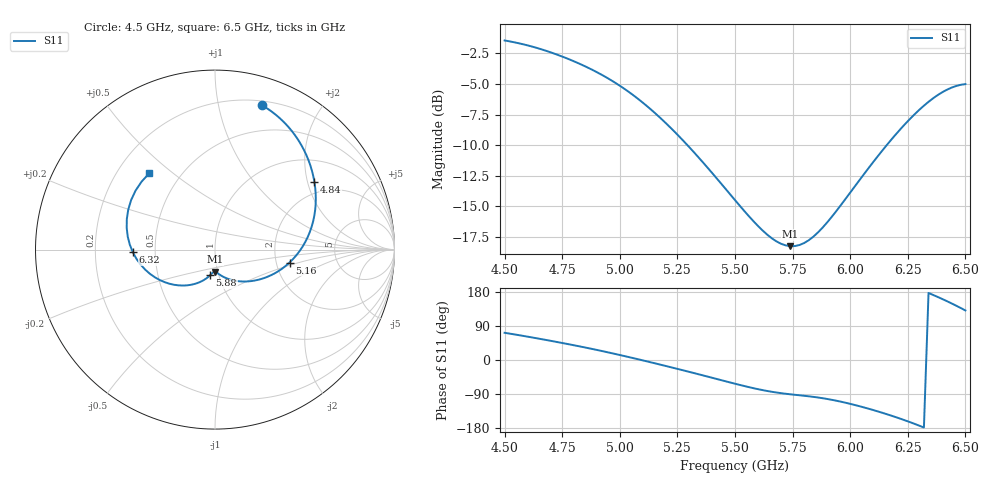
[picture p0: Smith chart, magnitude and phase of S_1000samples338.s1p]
! TOUCHSTONE file generated by CST MICROWAVE STUDIO
! Date and time: Thu Oct 27 20:03:52 2022
! Project name: L.cst
! Parameters = {Di=1.27; Epsilon_r=1.56; InnerDiameter=1.27; Length=2; Lf=10; Lg=60; OuterConductorThickness=0.2921; OuterDiameter=3.6; Wf=3; Wp=41.2; de=1.5; df=6.8; g=0.8; gx=1.41323; gy=2.37551; h=2.34; hf=1.524; px=11.4298; py=10.3276; w=9.7; wx=10.0166; wy=7.95206}
! Header version: 2018
! Port assignment regex: !\s*Touchstone port\s*([0-9]+)\s*=\s*(CST MWS port|CST DS port)\s*([0-9]+|Zmin|Zmax)\s*\(\"(.*)\"\)(\s*mode\s*([0-9]+))?.*
! Touchstone port assignment:
! Touchstone port 1 = CST MWS port 1 ("")
# GHz S DB R 50
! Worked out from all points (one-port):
!   101 points, 4.5 GHz to 6.5 GHz, reference 50 ohm
!   lowest |S11| = -18.2 dB at 5.74 GHz (marker M1), VSWR 1.28, Z = 48.4 - j12 ohm
!   |S11| at or under -10 dB: 5.293 GHz to 6.158 GHz (865 MHz wide, 15.1 % of centre)
!   S11 on the Smith chart (normalised r, x): 4.5 GHz: 0.24, +1.35; 4.84 GHz: 1.62, +2.21; 5.16 GHz: 2.37, -0.42; 5.88 GHz: 0.91, -0.27; 6.32 GHz: 0.37, -0.01; 6.5 GHz: 0.33, +0.42
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4.5  -1.46 71.8
4.62  -1.96 59.4
4.7  -2.43 50.6
4.76  -2.84 43.7
4.84  -3.48 34.2
4.92  -4.24 24.0
5  -5.15 13.2
5.08  -6.24 1.9
5.16  -7.51 -9.9
5.26  -9.33 -24.9
5.38  -11.82 -43.6
5.5  -14.48 -62.6
5.64  -17.30 -81.8
5.7  -18.05 -87.5
5.74  -18.24 -90.5
5.76  -18.23 -91.8
5.82  -17.76 -95.8
5.88  -16.73 -100.8
6  -13.87 -115.7
6.06  -12.36 -125.2
6.14  -10.43 -139.4
6.2  -9.08 -151.2
6.26  -7.85 -164.1
6.32  -6.78 -178.2
6.38  -5.91 166.3
6.42  -5.48 155.2
6.46  -5.17 143.3
6.5  -5.02 130.8
